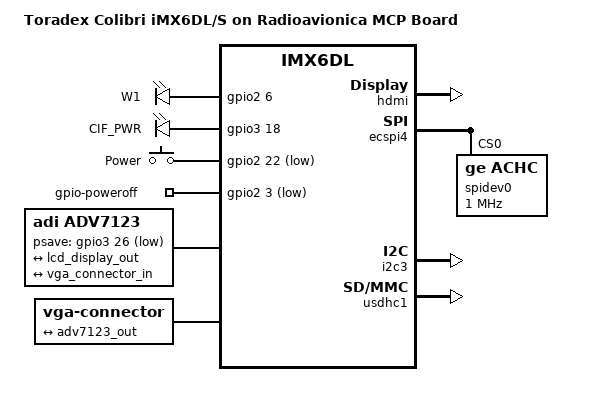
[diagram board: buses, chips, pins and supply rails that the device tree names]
/*
 * Copyright 2014-2016 Toradex AG
 * Copyright 2012 Freescale Semiconductor, Inc.
 * Copyright 2011 Linaro Ltd.
 *
 * This file is dual-licensed: you can use it either under the terms
 * of the GPL or the X11 license, at your option. Note that this dual
 * licensing only applies to this file, and not this project as a
 * whole.
 *
 *  a) This file is free software; you can redistribute it and/or
 *     modify it under the terms of the GNU General Public License
 *     version 2 as published by the Free Software Foundation.
 *
 *     This file is distributed in the hope that it will be useful
 *     but WITHOUT ANY WARRANTY; without even the implied warranty of
 *     MERCHANTABILITY or FITNESS FOR A PARTICULAR PURPOSE.  See the
 *     GNU General Public License for more details.
 *
 * Or, alternatively
 *
 *  b) Permission is hereby granted, free of charge, to any person
 *     obtaining a copy of this software and associated documentation
 *     files (the "Software"), to deal in the Software without
 *     restriction, including without limitation the rights to use
 *     copy, modify, merge, publish, distribute, sublicense, and/or
 *     sell copies of the Software, and to permit persons to whom the
 *     Software is furnished to do so, subject to the following
 *     conditions:
 *
 *     The above copyright notice and this permission notice shall be
 *     included in all copies or substantial portions of the Software.
 *
 *     THE SOFTWARE IS PROVIDED , WITHOUT WARRANTY OF ANY KIND
 *     EXPRESS OR IMPLIED, INCLUDING BUT NOT LIMITED TO THE WARRANTIES
 *     OF MERCHANTABILITY, FITNESS FOR A PARTICULAR PURPOSE AND
 *     NONINFRINGEMENT. IN NO EVENT SHALL THE AUTHORS OR COPYRIGHT
 *     HOLDERS BE LIABLE FOR ANY CLAIM, DAMAGES OR OTHER LIABILITY
 *     WHETHER IN AN ACTION OF CONTRACT, TORT OR OTHERWISE, ARISING
 *     FROM, OUT OF OR IN CONNECTION WITH THE SOFTWARE OR THE USE OR
 *     OTHER DEALINGS IN THE SOFTWARE.
 */

/dts-v1/;

#include "imx6dl-colibri-mcp.dtsi"

/ {
	model = "Toradex Colibri iMX6DL/S on Radioavionica MCP Board";
	compatible = "toradex,mcp", "toradex,colibri_imx6dl-eval",
		"toradex,colibri_imx6dl", "fsl,imx6dl";

	aliases {
		i2c0 = &i2c2;
		i2c1 = &i2c3;
	};

	aliases {
		rtc0 = &snvs_rtc;
	};

	gpio-leds {
		compatible = "gpio-leds";
		pinctrl-names = "default";
		pinctrl-0 = <&pinctrl_gpio_leds>;

		w1 {
			label = "W1";
			gpios = <&gpio2 6 GPIO_ACTIVE_HIGH>;
			default-state = "on";
		};

		cif {
			label = "CIF_PWR";
			gpios = <&gpio3 18 GPIO_ACTIVE_HIGH>;
			default-state = "on";
		};
	};

	gpio-keys {
		compatible = "gpio-keys";
		pinctrl-names = "default";
		pinctrl-0 = <&pinctrl_gpio_keys>;

		power {
			label = "Power";
			gpios = <&gpio2 22 GPIO_ACTIVE_LOW>; /* SODIMM 45 */
			linux,code = <KEY_POWER>;
			debounce-interval = <100>;
			wakeup-source;
		};
	};

	gpio-poweroff {
		pinctrl-names = "default";
		pinctrl-0 = <&pinctrl_gpio_poweroff>;
		compatible = "gpio-poweroff";
		gpios = <&gpio2 3 GPIO_ACTIVE_LOW>;
	};

	lcd_display: display@di0 {
		interface-pix-fmt = "bgr666";
		status = "okay";

		port@0 {
			reg = <0>;

			lcd_display_in: endpoint {
				remote-endpoint = <&ipu1_di0_disp0>;
			};
		};

		port@1 {
			reg = <1>;

			lcd_display_out: endpoint {
				remote-endpoint = <&adv7123_in>; /* <&lcd_panel_in>; */
			};
		};
	};

	adv7123: encoder {
		compatible = "adi,adv7123";
		pinctrl-names = "default";
		pinctrl-0 = <&pinctrl_vga_encoder>;
		psave-gpios = <&gpio3 26 GPIO_ACTIVE_LOW>;

		ports {
			#address-cells = <1>;
			#size-cells = <0>;
			port@0 {
				reg = <0>;
				adv7123_in: endpiont@0 {
					remote-endpoint = <&lcd_display_out>;
				};
			};
			port@1 {
				reg = <1>;
				adv7123_out: endpoint@0 {
					remote-endpoint = <&vga_connector_in>;
				};
			};
		};
	};

	vga0: connector@0 {
		compatible = "vga-connector";
		label = "vga";

		/*ddc-i2c-bus = <&i2c3> */

		port {
			vga_connector_in: endpoint {
				remote-endpoint = <&adv7123_out>;
			};
		};
	};
};

&ipu1_di0_disp0 {	remote-endpoint = <&lcd_display_in>;	};

&hdmi {	status = "okay";	};

/* Colibri SSP */
&ecspi4 {
	status = "okay";

	spidev0: spi@0 {
		reg = <0>;
		spi-max-frequency = <1000000>;
		 /* not allowed compatible = "spidev", so set allowed */
		compatible = "ge,achc";
		status = "okay";
	};
};


/*
 * Colibri I2C: I2C3_SDA/SCL on SODIMM 194/196 (e.g. RTC on carrier board)
 */
&i2c3 {	status = "okay";	};

/* Colibri MMC */
&usdhc1 {	status = "okay";	};

&weim {		status = "disabled";	};

&iomuxc {
	pinctrl_gpio_leds: gpio-leds {
		fsl,pins = <
			MX6QDL_PAD_NANDF_D6__GPIO2_IO06	0x0f058 /* PU_22K */
			MX6QDL_PAD_EIM_D18__GPIO3_IO18	0x0f058 /* PU_22K soDimm 77: CIF_D11/CIF_PWR */
		>;
	};

	pinctrl_vga_encoder: vga-encoder {
		fsl,pins = <
			MX6QDL_PAD_EIM_D26__GPIO3_IO26	0x0f058 /* PU_22K soDimm 71: BL_ON */
		>;
	};

};
